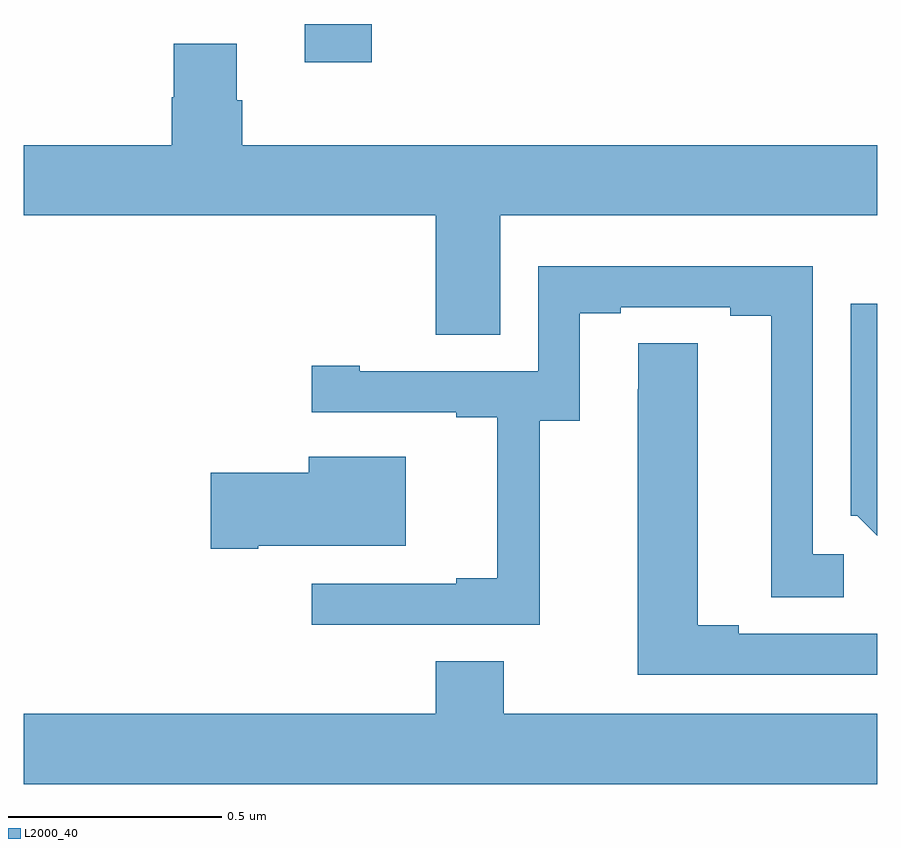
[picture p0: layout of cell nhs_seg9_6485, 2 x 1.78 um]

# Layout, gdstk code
import gdstk
lib = gdstk.Library(unit=1e-6, precision=1e-09)
def R(c, l, rs):  # rectangles x0, y0, x1, y1
    for r in rs: c.add(gdstk.rectangle(r[:2], r[2:], *l))
def P(c, l, *ps):  # polygons
    for p in ps: c.add(gdstk.Polygon(p, *l))
L2000_40 = (2000, 40)

nhs_seg9_6485 = lib.new_cell('nhs_seg9_6485')
R(nhs_seg9_6485, L2000_40, [(192.659,1231.41,192.815,1231.5)])
P(nhs_seg9_6485, L2000_40, [(193.117,1231.052),(194,1231.052),(194,1231.216),(192.512,1231.216),(192.512,1231.322),(192.499,1231.322),(192.499,1231.454),(192.352,1231.454),(192.352,1231.329),(192.347,1231.329),(192.347,1231.216),(192,1231.216),(192,1231.052),(192.965,1231.052),(192.965,1230.772),(193.117,1230.772)],
  [(193.209,1230.571),(193.303,1230.571),(193.303,1230.822),(193.399,1230.822),(193.399,1230.837),(193.655,1230.837),(193.655,1230.817),(193.751,1230.817),(193.751,1230.157),(193.921,1230.157),(193.921,1230.258),(193.848,1230.258),(193.848,1230.933),(193.206,1230.933),(193.206,1230.687),(192.787,1230.687),(192.787,1230.7),(192.675,1230.7),(192.675,1230.591),(193.013,1230.591),(193.013,1230.579),(193.109,1230.579),(193.109,1230.202),(193.013,1230.202),(193.013,1230.189),(192.675,1230.189),(192.675,1230.093),(193.209,1230.093)],
  [(194,1230.845),(193.938,1230.845),(193.938,1230.348),(193.953,1230.348),(194,1230.301)],
  [(194,1230.072),(193.675,1230.072),(193.675,1230.092),(193.579,1230.092),(193.579,1230.752),(193.44,1230.752),(193.44,1230.644),(193.439,1230.644),(193.439,1229.976),(194,1229.976)],
  [(192.55,1230.278),(192.895,1230.278),(192.895,1230.487),(192.668,1230.487),(192.668,1230.449),(192.438,1230.449),(192.438,1230.271),(192.55,1230.271)],
  [(194,1229.884),(193.125,1229.884),(193.125,1230.008),(192.965,1230.008),(192.965,1229.884),(192,1229.884),(192,1229.72),(194,1229.72)])

lib.write_gds('nhs_seg9_6485.gds')
